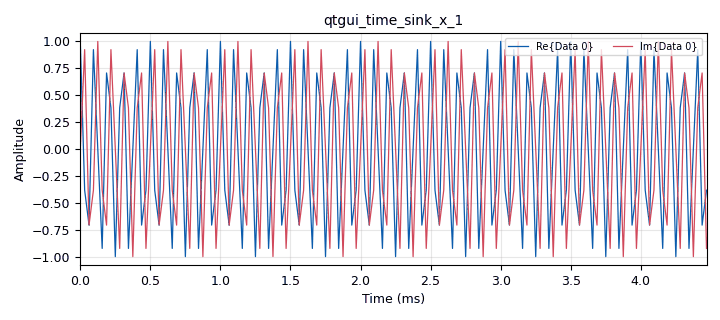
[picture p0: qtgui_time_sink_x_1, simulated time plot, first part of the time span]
options:
  parameters:
    generate_options: qt_gui
    id: FMCOMMS_tr_test
    output_language: python
    title: Not titled yet
  states: {}

blocks:
- name: samp_rate
  id: variable
  parameters:
    value: '32000'
  states: {}
- name: analog_sig_source_x_0
  id: analog_sig_source_x
  parameters:
    amp: '1'
    freq: '10000'
    offset: '0'
    phase: '0'
    samp_rate: samp_rate
    type: complex
    waveform: analog.GR_COS_WAVE
  states: {}
- name: iio_fmcomms5_sink_0
  id: iio_fmcomms5_sink
  parameters:
    attenuation1: '10.0'
    attenuation2: '10.0'
    attenuation3: '10.0'
    attenuation4: '10.0'
    bandwidth: '20000000'
    buffer_size: '32768'
    cyclic: 'False'
    filter: ''
    frequency1: '2400000000'
    frequency2: '2400000000'
    rf_port_select: '''A'''
    samplerate: '2084000'
    tx1_en: 'True'
    tx2_en: 'False'
    tx3_en: 'False'
    tx4_en: 'False'
    uri: '"10.23.23.40"'
  states: {}
- name: iio_fmcomms5_source_0
  id: iio_fmcomms5_source
  parameters:
    bandwidth: '20000000'
    bbdc: 'True'
    buffer_size: '32768'
    filter: ''
    frequency1: '2400000000'
    frequency2: '2400000000'
    gain1: '''manual'''
    gain2: '''manual'''
    gain3: '''manual'''
    gain4: '''manual'''
    manual_gain1: '64'
    manual_gain2: '64'
    manual_gain3: '64'
    manual_gain4: '64'
    quadrature: 'True'
    rf_port_select: '''A_BALANCED'''
    rfdc: 'True'
    rx1_en: 'False'
    rx2_en: 'True'
    rx3_en: 'False'
    rx4_en: 'False'
    samplerate: '2084000'
    uri: '"10.23.23.40"'
  states: {}
- name: qtgui_time_sink_x_0
  id: qtgui_time_sink_x
  parameters:
    size: '1024'
    srate: samp_rate
    type: complex
  states: {}
- name: qtgui_time_sink_x_1
  id: qtgui_time_sink_x
  parameters:
    size: '1024'
    srate: samp_rate
    type: complex
  states: {}

connections:
- [analog_sig_source_x_0, '0', iio_fmcomms5_sink_0, '0']
- [analog_sig_source_x_0, '0', qtgui_time_sink_x_1, '0']
- [iio_fmcomms5_source_0, '0', qtgui_time_sink_x_0, '0']

metadata:
  file_format: 1
